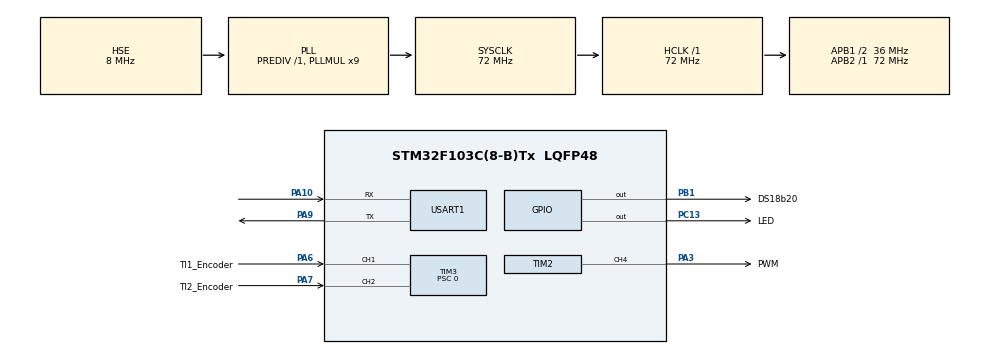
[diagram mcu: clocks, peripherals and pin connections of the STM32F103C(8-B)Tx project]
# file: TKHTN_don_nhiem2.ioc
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Mcu.Family=STM32F1
Mcu.Name=STM32F103C(8-B)Tx
Mcu.Package=LQFP48
NVIC.PriorityGroup=NVIC_PRIORITYGROUP_4
PA10.Mode=Asynchronous
PA10.Signal=USART1_RX
PA13.Mode=Serial_Wire
PA13.Signal=SYS_JTMS-SWDIO
PA14.Mode=Serial_Wire
PA14.Signal=SYS_JTCK-SWCLK
PA3.GPIO_Label=PWM
PA3.Signal=S_TIM2_CH4
PA6.GPIO_Label=TI1_Encoder
PA6.Signal=S_TIM3_CH1
PA7.GPIO_Label=TI2_Encoder
PA7.Signal=S_TIM3_CH2
PA9.Mode=Asynchronous
PA9.Signal=USART1_TX
PB1.GPIO_Label=DS18b20
PB1.Signal=GPIO_Output
PC13-TAMPER-RTC.GPIO_Label=LED
PC13-TAMPER-RTC.GPIO_ModeDefaultOutputPP=GPIO_MODE_OUTPUT_PP
PC13-TAMPER-RTC.Signal=GPIO_Output
PD0-OSC_IN.Mode=HSE-External-Oscillator
PD0-OSC_IN.Signal=RCC_OSC_IN
PD1-OSC_OUT.Mode=HSE-External-Oscillator
PD1-OSC_OUT.Signal=RCC_OSC_OUT
ProjectManager.HeapSize=0x200
ProjectManager.StackSize=0x400
ProjectManager.TargetToolchain=STM32CubeIDE
RCC.AHBFreq_Value=72000000
RCC.APB1CLKDivider=RCC_HCLK_DIV2
RCC.APB1Freq_Value=36000000
RCC.APB1TimFreq_Value=72000000
RCC.APB2Freq_Value=72000000
RCC.APB2TimFreq_Value=72000000
RCC.HCLKFreq_Value=72000000
RCC.PLLMUL=RCC_PLL_MUL9
RCC.PLLSourceVirtual=RCC_PLLSOURCE_HSE
RCC.SYSCLKFreq_VALUE=72000000
RCC.SYSCLKSource=RCC_SYSCLKSOURCE_PLLCLK
RCC.USBFreq_Value=72000000
SH.S_TIM2_CH4.0=TIM2_CH4,PWM Generation4 CH4
SH.S_TIM3_CH1.0=TIM3_CH1,Encoder_Interface
SH.S_TIM3_CH2.0=TIM3_CH2,Encoder_Interface
TIM2.Channel-PWM\ Generation4\ CH4=TIM_CHANNEL_4
TIM2.Period=99
TIM2.Prescaler=9-1
TIM3.EncoderMode=TIM_ENCODERMODE_TI1
TIM3.IC1Polarity=TIM_ICPOLARITY_FALLING
TIM3.IC2Polarity=TIM_ICPOLARITY_FALLING
TIM3.Prescaler=0
TIM4.Prescaler=72-1
USART1.VirtualMode=VM_ASYNC
VP_TIM4_VS_ClockSourceINT.Mode=Internal
board=custom

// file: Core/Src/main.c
/* USER CODE BEGIN Header */
/**
  ******************************************************************************
  * @file           : main.c
  * @brief          : Main program body
  ******************************************************************************
  * @attention
  *
  * <h2><center>&copy; Copyright (c) 2022 STMicroelectronics.
  * All rights reserved.</center></h2>
  *
  * This software component is licensed by ST under BSD 3-Clause license,
  * the "License"; You may not use this file except in compliance with the
  * License. You may obtain a copy of the License at:
  *                        opensource.org/licenses/BSD-3-Clause
  *
  ******************************************************************************
  */
/* USER CODE END Header */
#include "main.h"

/* USER CODE BEGIN Includes */
#include <stdio.h>
#include "DS18B20.h"
#include "Motor.h"
#include "Menu_print.h"
/* USER CODE END Includes */

TIM_HandleTypeDef htim2;
TIM_HandleTypeDef htim3;
TIM_HandleTypeDef htim4;

UART_HandleTypeDef huart1;

void SystemClock_Config(void);
static void MX_GPIO_Init(void);
static void MX_USART1_UART_Init(void);
static void MX_TIM2_Init(void);
static void MX_TIM3_Init(void);
static void MX_TIM4_Init(void);

/* USER CODE BEGIN 0 */
uint16_t period_array[3];
float temp = 0;

Motor_Name Motor;
DS18B20_Name DS;

/*******************************************TASK*****************************************/

void TASK1_READ_TEMP(void)
{
	temp = DS18B20_ReadTemp(&DS);
	printf("Temperature: %f C\n", temp);
}

void TASK2_READ_SPEED(void)
{
	printf("Speed: %d rpm\n", Motor_Get_Speed(&Motor));
}

void TASK3_SET_MOTOR(void)
{
	if(Motor.mode == MODE_MOTOR_TEMP)
	{
		Motor_Set_Duty(&Motor, (uint8_t)temp);
		printf("Set speed Motor\n");
	}
}

/* USER CODE END 0 */

int main(void)
{
  /* USER CODE BEGIN 1 */
	uint8_t i = 0;
	void (*Task_point_array[11]) (void) = {TASK3_SET_MOTOR, TASK2_READ_SPEED, TASK1_READ_TEMP, TASK2_READ_SPEED, TASK3_SET_MOTOR, TASK2_READ_SPEED, TASK1_READ_TEMP, TASK3_SET_MOTOR, TASK2_READ_SPEED, TASK2_READ_SPEED, TASK3_SET_MOTOR};
	uint16_t tk[11] = {50, 100, 200, 400, 402, 500, 600, 800, 804, 900, 920};
	//uint16_t tk[11] = {50, 100, 200, 420, 430, 500, 600, 820, 830, 900, 920};
	uint16_t P = 1000;
	uint8_t n = 11;
  /* USER CODE END 1 */

  /* MCU Configuration--------------------------------------------------------*/

  /* Reset of all peripherals, Initializes the Flash interface and the Systick. */
  HAL_Init();

  /* Configure the system clock */
  SystemClock_Config();

  /* Initialize all configured peripherals */
  MX_GPIO_Init();
  MX_USART1_UART_Init();
  MX_TIM2_Init();
  MX_TIM3_Init();
  MX_TIM4_Init();

  /* Infinite loop */
  /* USER CODE BEGIN WHILE */
  Menu_Print(&huart1, period_array, &Motor);
  DS18B20_Init(&DS, &htim4, DS18b20_GPIO_Port , DS18b20_Pin);
  Motor_Init_PWM(&Motor, &htim2, TIM_CHANNEL_4, 2000, Motor.duty);
  Motor_Init_Encoder(&Motor, &htim3, TIM_CHANNEL_1);

  while (1)
  {
    /* USER CODE END WHILE */

    /* USER CODE BEGIN 3 */

	  if((uwTick%P) == tk[i])
	  {
		  Task_point_array[i]();
		  i++;
		  if(i == n)		//i vượt quá số task
		  {
			  i = 0;
			  printf("\n");
		  }
	  }
  }
  /* USER CODE END 3 */
}

void SystemClock_Config(void)
{
  RCC_OscInitTypeDef RCC_OscInitStruct = {0};
  RCC_ClkInitTypeDef RCC_ClkInitStruct = {0};

  /** Initializes the RCC Oscillators according to the specified parameters
  * in the RCC_OscInitTypeDef structure.
  */
  RCC_OscInitStruct.OscillatorType = RCC_OSCILLATORTYPE_HSE;
  RCC_OscInitStruct.HSEState = RCC_HSE_ON;
  RCC_OscInitStruct.HSEPredivValue = RCC_HSE_PREDIV_DIV1;
  RCC_OscInitStruct.HSIState = RCC_HSI_ON;
  RCC_OscInitStruct.PLL.PLLState = RCC_PLL_ON;
  RCC_OscInitStruct.PLL.PLLSource = RCC_PLLSOURCE_HSE;
  RCC_OscInitStruct.PLL.PLLMUL = RCC_PLL_MUL9;
  if (HAL_RCC_OscConfig(&RCC_OscInitStruct) != HAL_OK)
  {
    Error_Handler();
  }
  /** Initializes the CPU, AHB and APB buses clocks
  */
  RCC_ClkInitStruct.ClockType = RCC_CLOCKTYPE_HCLK|RCC_CLOCKTYPE_SYSCLK
                              |RCC_CLOCKTYPE_PCLK1|RCC_CLOCKTYPE_PCLK2;
  RCC_ClkInitStruct.SYSCLKSource = RCC_SYSCLKSOURCE_PLLCLK;
  RCC_ClkInitStruct.AHBCLKDivider = RCC_SYSCLK_DIV1;
  RCC_ClkInitStruct.APB1CLKDivider = RCC_HCLK_DIV2;
  RCC_ClkInitStruct.APB2CLKDivider = RCC_HCLK_DIV1;

  if (HAL_RCC_ClockConfig(&RCC_ClkInitStruct, FLASH_LATENCY_2) != HAL_OK)
  {
    Error_Handler();
  }
}

static void MX_TIM2_Init(void)
{

  TIM_MasterConfigTypeDef sMasterConfig = {0};
  TIM_OC_InitTypeDef sConfigOC = {0};

  htim2.Instance = TIM2;
  htim2.Init.Prescaler = 9-1;
  htim2.Init.CounterMode = TIM_COUNTERMODE_UP;
  htim2.Init.Period = 99;
  htim2.Init.ClockDivision = TIM_CLOCKDIVISION_DIV1;
  htim2.Init.AutoReloadPreload = TIM_AUTORELOAD_PRELOAD_DISABLE;
  if (HAL_TIM_PWM_Init(&htim2) != HAL_OK)
  {
    Error_Handler();
  }
  sMasterConfig.MasterOutputTrigger = TIM_TRGO_RESET;
  sMasterConfig.MasterSlaveMode = TIM_MASTERSLAVEMODE_DISABLE;
  if (HAL_TIMEx_MasterConfigSynchronization(&htim2, &sMasterConfig) != HAL_OK)
  {
    Error_Handler();
  }
  sConfigOC.OCMode = TIM_OCMODE_PWM1;
  sConfigOC.Pulse = 0;
  sConfigOC.OCPolarity = TIM_OCPOLARITY_HIGH;
  sConfigOC.OCFastMode = TIM_OCFAST_DISABLE;
  if (HAL_TIM_PWM_ConfigChannel(&htim2, &sConfigOC, TIM_CHANNEL_4) != HAL_OK)
  {
    Error_Handler();
  }
  HAL_TIM_MspPostInit(&htim2);

}

static void MX_TIM3_Init(void)
{

  TIM_Encoder_InitTypeDef sConfig = {0};
  TIM_MasterConfigTypeDef sMasterConfig = {0};

  htim3.Instance = TIM3;
  htim3.Init.Prescaler = 0;
  htim3.Init.CounterMode = TIM_COUNTERMODE_UP;
  htim3.Init.Period = 65535;
  htim3.Init.ClockDivision = TIM_CLOCKDIVISION_DIV1;
  htim3.Init.AutoReloadPreload = TIM_AUTORELOAD_PRELOAD_DISABLE;
  sConfig.EncoderMode = TIM_ENCODERMODE_TI1;
  sConfig.IC1Polarity = TIM_ICPOLARITY_FALLING;
  sConfig.IC1Selection = TIM_ICSELECTION_DIRECTTI;
  sConfig.IC1Prescaler = TIM_ICPSC_DIV1;
  sConfig.IC1Filter = 0;
  sConfig.IC2Polarity = TIM_ICPOLARITY_FALLING;
  sConfig.IC2Selection = TIM_ICSELECTION_DIRECTTI;
  sConfig.IC2Prescaler = TIM_ICPSC_DIV1;
  sConfig.IC2Filter = 0;
  if (HAL_TIM_Encoder_Init(&htim3, &sConfig) != HAL_OK)
  {
    Error_Handler();
  }
  sMasterConfig.MasterOutputTrigger = TIM_TRGO_RESET;
  sMasterConfig.MasterSlaveMode = TIM_MASTERSLAVEMODE_DISABLE;
  if (HAL_TIMEx_MasterConfigSynchronization(&htim3, &sMasterConfig) != HAL_OK)
  {
    Error_Handler();
  }

}

static void MX_TIM4_Init(void)
{

  TIM_ClockConfigTypeDef sClockSourceConfig = {0};
  TIM_MasterConfigTypeDef sMasterConfig = {0};

  htim4.Instance = TIM4;
  htim4.Init.Prescaler = 72-1;
  htim4.Init.CounterMode = TIM_COUNTERMODE_UP;
  htim4.Init.Period = 65535;
  htim4.Init.ClockDivision = TIM_CLOCKDIVISION_DIV1;
  htim4.Init.AutoReloadPreload = TIM_AUTORELOAD_PRELOAD_DISABLE;
  if (HAL_TIM_Base_Init(&htim4) != HAL_OK)
  {
    Error_Handler();
  }
  sClockSourceConfig.ClockSource = TIM_CLOCKSOURCE_INTERNAL;
  if (HAL_TIM_ConfigClockSource(&htim4, &sClockSourceConfig) != HAL_OK)
  {
    Error_Handler();
  }
  sMasterConfig.MasterOutputTrigger = TIM_TRGO_RESET;
  sMasterConfig.MasterSlaveMode = TIM_MASTERSLAVEMODE_DISABLE;
  if (HAL_TIMEx_MasterConfigSynchronization(&htim4, &sMasterConfig) != HAL_OK)
  {
    Error_Handler();
  }

}

static void MX_USART1_UART_Init(void)
{

  huart1.Instance = USART1;
  huart1.Init.BaudRate = 115200;
  huart1.Init.WordLength = UART_WORDLENGTH_8B;
  huart1.Init.StopBits = UART_STOPBITS_1;
  huart1.Init.Parity = UART_PARITY_NONE;
  huart1.Init.Mode = UART_MODE_TX_RX;
  huart1.Init.HwFlowCtl = UART_HWCONTROL_NONE;
  huart1.Init.OverSampling = UART_OVERSAMPLING_16;
  if (HAL_UART_Init(&huart1) != HAL_OK)
  {
    Error_Handler();
  }

}

static void MX_GPIO_Init(void)
{
  GPIO_InitTypeDef GPIO_InitStruct = {0};

  /* GPIO Ports Clock Enable */
  __HAL_RCC_GPIOC_CLK_ENABLE();
  __HAL_RCC_GPIOD_CLK_ENABLE();
  __HAL_RCC_GPIOA_CLK_ENABLE();
  __HAL_RCC_GPIOB_CLK_ENABLE();

  /*Configure GPIO pin Output Level */
  HAL_GPIO_WritePin(LED_GPIO_Port, LED_Pin, GPIO_PIN_RESET);

  /*Configure GPIO pin Output Level */
  HAL_GPIO_WritePin(DS18b20_GPIO_Port, DS18b20_Pin, GPIO_PIN_RESET);

  /*Configure GPIO pin : LED_Pin */
  GPIO_InitStruct.Pin = LED_Pin;
  GPIO_InitStruct.Mode = GPIO_MODE_OUTPUT_PP;
  GPIO_InitStruct.Pull = GPIO_NOPULL;
  GPIO_InitStruct.Speed = GPIO_SPEED_FREQ_LOW;
  HAL_GPIO_Init(LED_GPIO_Port, &GPIO_InitStruct);

  /*Configure GPIO pin : DS18b20_Pin */
  GPIO_InitStruct.Pin = DS18b20_Pin;
  GPIO_InitStruct.Mode = GPIO_MODE_OUTPUT_PP;
  GPIO_InitStruct.Pull = GPIO_NOPULL;
  GPIO_InitStruct.Speed = GPIO_SPEED_FREQ_LOW;
  HAL_GPIO_Init(DS18b20_GPIO_Port, &GPIO_InitStruct);

}

/* USER CODE BEGIN 4 */

int __io_putchar(int ch) {

	HAL_UART_Transmit(&huart1,(uint8_t *)&ch, 1, 500);

	return ch;
}

/* USER CODE END 4 */

void Error_Handler(void)
{
  __disable_irq();
  while (1)
  {
  }
}

/************************ (C) COPYRIGHT STMicroelectronics *****END OF FILE****/
